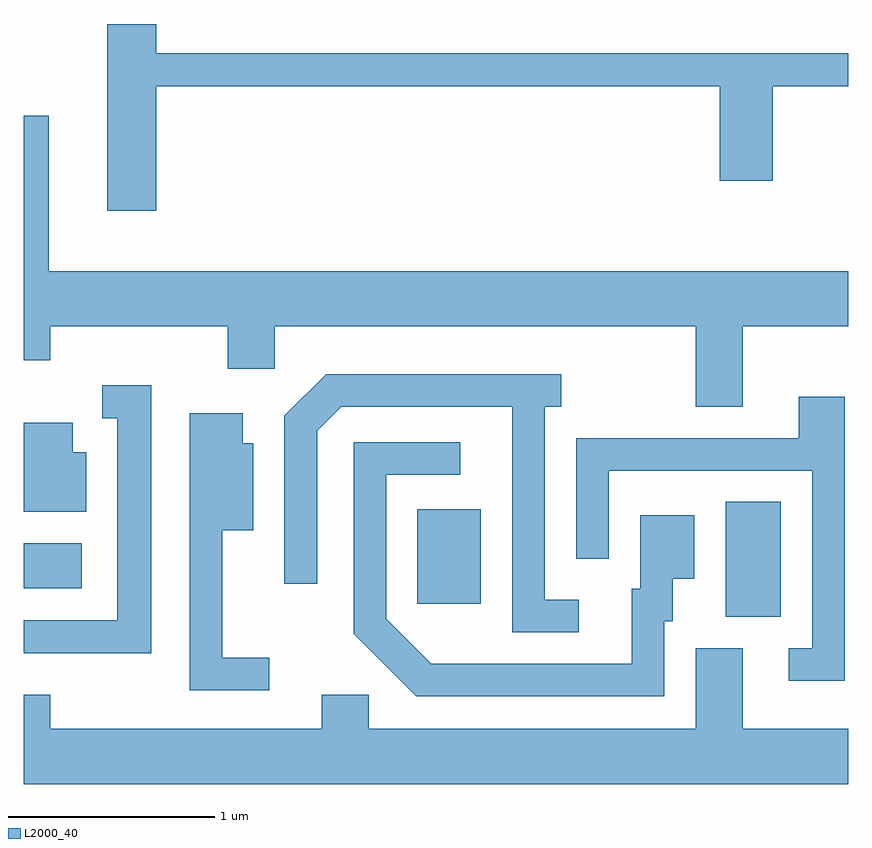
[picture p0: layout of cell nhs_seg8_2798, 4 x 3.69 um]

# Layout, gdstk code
import gdstk
lib = gdstk.Library(unit=1e-6, precision=1e-09)
def R(c, l, rs):  # rectangles x0, y0, x1, y1
    for r in rs: c.add(gdstk.rectangle(r[:2], r[2:], *l))
def P(c, l, *ps):  # polygons
    for p in ps: c.add(gdstk.Polygon(p, *l))
L2000_40 = (2000, 40)

nhs_seg8_2798 = lib.new_cell('nhs_seg8_2798')
R(nhs_seg8_2798, L2000_40, [(273.016,1819.466,273.284,1820.024), (271.521,1819.531,271.829,1819.989), (269.611,1819.606,269.894,1819.824)])
P(nhs_seg8_2798, L2000_40, [(270.254,1822.041),(272.986,1822.041),(272.986,1821.581),(273.244,1821.581),(273.244,1822.041),(273.611,1822.041),(273.611,1822.199),(270.254,1822.199),(270.254,1822.342),(270.016,1822.342),(270.016,1821.436),(270.254,1821.436)],
  [(273.099,1820.876),(273.611,1820.876),(273.611,1821.144),(269.734,1821.144),(269.734,1821.898),(269.611,1821.898),(269.611,1820.711),(269.739,1820.711),(269.739,1820.876),(270.601,1820.876),(270.601,1820.671),(270.829,1820.671),(270.829,1820.876),(272.871,1820.876),(272.871,1820.486),(273.099,1820.486)],
  [(272.303,1819.549),(272.139,1819.549),(272.139,1820.486),(272.218,1820.486),(272.218,1820.644),(271.079,1820.644),(270.876,1820.442),(270.876,1819.628),(271.034,1819.628),(271.034,1820.369),(271.152,1820.486),(271.981,1820.486),(271.981,1819.391),(272.303,1819.391)],
  [(270.229,1820.589),(269.993,1820.589),(269.993,1820.431),(270.066,1820.431),(270.066,1819.449),(269.611,1819.449),(269.611,1819.291),(270.229,1819.291)],
  [(273.594,1820.534),(273.371,1820.534),(273.371,1820.334),(272.291,1820.334),(272.291,1819.748),(272.449,1819.748),(272.449,1820.176),(273.436,1820.176),(273.436,1819.314),(273.323,1819.314),(273.323,1819.156),(273.594,1819.156)],
  [(270.803,1819.269),(270.574,1819.269),(270.574,1819.886),(270.724,1819.886),(270.724,1820.309),(270.674,1820.309),(270.674,1820.454),(270.416,1820.454),(270.416,1819.111),(270.803,1819.111)],
  [(269.914,1820.264),(269.849,1820.264),(269.849,1820.409),(269.611,1820.409),(269.611,1819.976),(269.914,1819.976)],
  [(272.719,1819.446),(272.759,1819.446),(272.759,1819.651),(272.864,1819.651),(272.864,1819.959),(272.601,1819.959),(272.601,1819.604),(272.561,1819.604),(272.561,1819.239),(271.587,1819.239),(271.369,1819.457),(271.369,1820.156),(271.728,1820.156),(271.728,1820.314),(271.211,1820.314),(271.211,1819.384),(271.514,1819.081),(272.719,1819.081)],
  [(273.611,1818.924),(273.099,1818.924),(273.099,1819.314),(272.871,1819.314),(272.871,1818.924),(271.284,1818.924),(271.284,1819.089),(271.056,1819.089),(271.056,1818.924),(269.739,1818.924),(269.739,1819.089),(269.611,1819.089),(269.611,1818.656),(273.611,1818.656)])

lib.write_gds('nhs_seg8_2798.gds')
